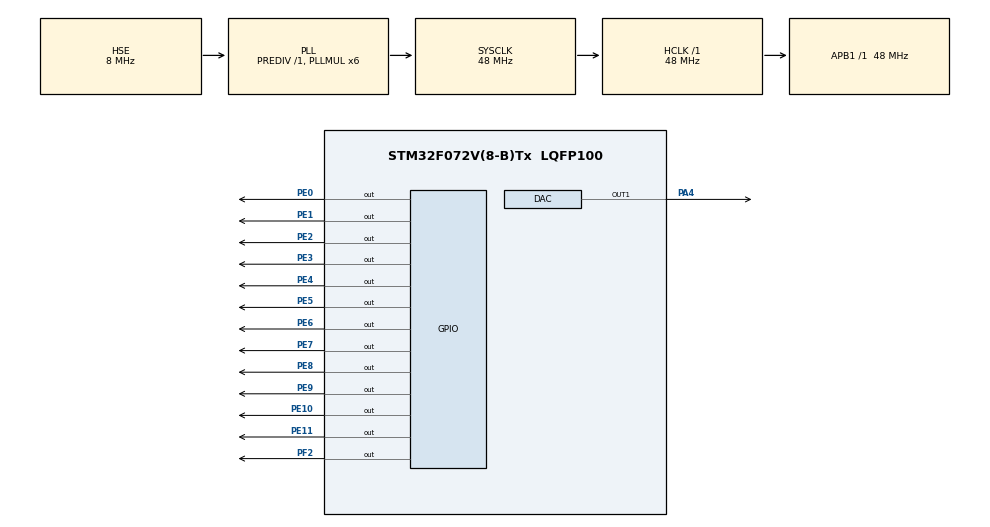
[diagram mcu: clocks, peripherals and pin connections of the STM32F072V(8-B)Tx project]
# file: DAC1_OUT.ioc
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Mcu.Family=STM32F0
Mcu.Name=STM32F072V(8-B)Tx
Mcu.Package=LQFP100
PA4.Signal=COMP_DAC1_group
PE0.Signal=GPIO_Output
PE1.Signal=GPIO_Output
PE10.Signal=GPIO_Output
PE11.Signal=GPIO_Output
PE2.Signal=GPIO_Output
PE3.Signal=GPIO_Output
PE4.Signal=GPIO_Output
PE5.Signal=GPIO_Output
PE6.Signal=GPIO_Output
PE7.Signal=GPIO_Output
PE8.Signal=GPIO_Output
PE9.Signal=GPIO_Output
PF0-OSC_IN.Mode=HSE-External-Oscillator
PF0-OSC_IN.Signal=RCC_OSC_IN
PF1-OSC_OUT.Mode=HSE-External-Oscillator
PF1-OSC_OUT.Signal=RCC_OSC_OUT
PF2.Signal=GPIO_Output
ProjectManager.HeapSize=0x200
ProjectManager.StackSize=0x400
ProjectManager.TargetToolchain=MDK-ARM V5
RCC.AHBFreq_Value=48000000
RCC.APB1Freq_Value=48000000
RCC.APB1TimFreq_Value=48000000
RCC.HCLKFreq_Value=48000000
RCC.HSIState=RCC_HSI_ON
RCC.PLLMUL=RCC_PLL_MUL6
RCC.PLLSourceVirtual=RCC_PLLSOURCE_HSE
RCC.SYSCLKFreq_VALUE=48000000
RCC.SYSCLKSource=RCC_SYSCLKSOURCE_PLLCLK
SH.COMP_DAC1_group.0=DAC_OUT1,DAC_OUT1
board=DAC1_OUT

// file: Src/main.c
/**
  ******************************************************************************
  * File Name          : main.c
  * Description        : Main program body
  ******************************************************************************
  *
  * COPYRIGHT(c) 2018 STMicroelectronics
  *
  * Redistribution and use in source and binary forms, with or without modification,
  * are permitted provided that the following conditions are met:
  *   1. Redistributions of source code must retain the above copyright notice,
  *      this list of conditions and the following disclaimer.
  *   2. Redistributions in binary form must reproduce the above copyright notice,
  *      this list of conditions and the following disclaimer in the documentation
  *      and/or other materials provided with the distribution.
  *   3. Neither the name of STMicroelectronics nor the names of its contributors
  *      may be used to endorse or promote products derived from this software
  *      without specific prior written permission.
  *
  * THIS SOFTWARE IS PROVIDED BY THE COPYRIGHT HOLDERS AND CONTRIBUTORS "AS IS"
  * AND ANY EXPRESS OR IMPLIED WARRANTIES, INCLUDING, BUT NOT LIMITED TO, THE
  * IMPLIED WARRANTIES OF MERCHANTABILITY AND FITNESS FOR A PARTICULAR PURPOSE ARE
  * DISCLAIMED. IN NO EVENT SHALL THE COPYRIGHT HOLDER OR CONTRIBUTORS BE LIABLE
  * FOR ANY DIRECT, INDIRECT, INCIDENTAL, SPECIAL, EXEMPLARY, OR CONSEQUENTIAL
  * DAMAGES (INCLUDING, BUT NOT LIMITED TO, PROCUREMENT OF SUBSTITUTE GOODS OR
  * SERVICES; LOSS OF USE, DATA, OR PROFITS; OR BUSINESS INTERRUPTION) HOWEVER
  * CAUSED AND ON ANY THEORY OF LIABILITY, WHETHER IN CONTRACT, STRICT LIABILITY,
  * OR TORT (INCLUDING NEGLIGENCE OR OTHERWISE) ARISING IN ANY WAY OUT OF THE USE
  * OF THIS SOFTWARE, EVEN IF ADVISED OF THE POSSIBILITY OF SUCH DAMAGE.
  *
  ******************************************************************************
  */
#include "stm32f0xx_hal.h"

DAC_HandleTypeDef hdac;

/* USER CODE BEGIN PV */
/* Private variables ---------------------------------------------------------*/
HAL_StatusTypeDef status;  /* 定义HAL状态变量status */

/* USER CODE END PV */

void SystemClock_Config(void);
void Error_Handler(void);
static void MX_GPIO_Init(void);
static void MX_DAC_Init(void);

/* USER CODE BEGIN PFP */
/* Private function prototypes -----------------------------------------------*/
void SEG_Display(uint32_t num);    /*  数码管显示函数   */

/* USER CODE END PFP */

/* USER CODE BEGIN 0 */
const uint8_t table0[]= {0x3f,0x06,0x5b,0x4f,0x66,0x6d,0x7d,0x07,0x7f,0x6f};  /* 共阴（无点）*/
const uint8_t table1[]= {0xbf,0x86,0xdb,0xcf,0xe6,0xed,0xfd,0x87,0xff,0xef};  /* 共阴（有点）*/

uint16_t temp1,temp2;  //定义循环累加变量用于D/A转换

/* USER CODE END 0 */

int main(void)
{

  /* MCU Configuration----------------------------------------------------------*/

  /* Reset of all peripherals, Initializes the Flash interface and the Systick. */
  HAL_Init();

  /* Configure the system clock */
  SystemClock_Config();

  /* Initialize all configured peripherals */
  MX_GPIO_Init();
  MX_DAC_Init();

  /* USER CODE BEGIN 2 */

	/* 给变量temp1、temp2赋初值 */
	temp1=4096;
	temp2=4096;

	/* 使能DAC通道1 */
	status = HAL_DAC_Start(&hdac,DAC_CHANNEL_1);

  /* USER CODE END 2 */

  /* Infinite loop */
  /* USER CODE BEGIN WHILE */
  while (1)
  {
		temp1++;
		if(temp1<4096)
		{
		  temp2++;
		}
		if(temp1>=4096)
		{
			temp2--;
		}
		if(temp2==0)
		{
			temp1=0;
		}
		/* 将变量temp2的值作为D/A转换值、DAC通道1、12位精度右对齐 */
		status = HAL_DAC_SetValue ( &hdac,DAC_CHANNEL_1,DAC_ALIGN_12B_R,temp2);
 		/* 数码管显示正在转换的数据 */
		SEG_Display(temp2);

  /* USER CODE END WHILE */

  }

}

/** System Clock Configuration
*/
void SystemClock_Config(void)
{

  RCC_OscInitTypeDef RCC_OscInitStruct;
  RCC_ClkInitTypeDef RCC_ClkInitStruct;

  RCC_OscInitStruct.OscillatorType = RCC_OSCILLATORTYPE_HSE;
  RCC_OscInitStruct.HSEState = RCC_HSE_ON;
  RCC_OscInitStruct.PLL.PLLState = RCC_PLL_ON;
  RCC_OscInitStruct.PLL.PLLSource = RCC_PLLSOURCE_HSE;
  RCC_OscInitStruct.PLL.PLLMUL = RCC_PLL_MUL6;
  RCC_OscInitStruct.PLL.PREDIV = RCC_PREDIV_DIV1;
  if (HAL_RCC_OscConfig(&RCC_OscInitStruct) != HAL_OK)
  {
    Error_Handler();
  }

  RCC_ClkInitStruct.ClockType = RCC_CLOCKTYPE_HCLK|RCC_CLOCKTYPE_SYSCLK
                              |RCC_CLOCKTYPE_PCLK1;
  RCC_ClkInitStruct.SYSCLKSource = RCC_SYSCLKSOURCE_PLLCLK;
  RCC_ClkInitStruct.AHBCLKDivider = RCC_SYSCLK_DIV1;
  RCC_ClkInitStruct.APB1CLKDivider = RCC_HCLK_DIV1;
  if (HAL_RCC_ClockConfig(&RCC_ClkInitStruct, FLASH_LATENCY_1) != HAL_OK)
  {
    Error_Handler();
  }

  HAL_SYSTICK_Config(HAL_RCC_GetHCLKFreq()/1000);

  HAL_SYSTICK_CLKSourceConfig(SYSTICK_CLKSOURCE_HCLK);

  /* SysTick_IRQn interrupt configuration */
  HAL_NVIC_SetPriority(SysTick_IRQn, 0, 0);
}

/* DAC init function */
static void MX_DAC_Init(void)
{

  DAC_ChannelConfTypeDef sConfig;

    /**DAC Initialization
    */
  hdac.Instance = DAC;
  if (HAL_DAC_Init(&hdac) != HAL_OK)
  {
    Error_Handler();
  }

    /**DAC channel OUT1 config
    */
  sConfig.DAC_Trigger = DAC_TRIGGER_NONE;
  sConfig.DAC_OutputBuffer = DAC_OUTPUTBUFFER_ENABLE;
  if (HAL_DAC_ConfigChannel(&hdac, &sConfig, DAC_CHANNEL_1) != HAL_OK)
  {
    Error_Handler();
  }

}

/** Configure pins as
        * Analog
        * Input
        * Output
        * EVENT_OUT
        * EXTI
*/
static void MX_GPIO_Init(void)
{

  GPIO_InitTypeDef GPIO_InitStruct;

  /* GPIO Ports Clock Enable */
  __HAL_RCC_GPIOE_CLK_ENABLE();
  __HAL_RCC_GPIOF_CLK_ENABLE();
  __HAL_RCC_GPIOA_CLK_ENABLE();

  /*Configure GPIO pin Output Level */
  HAL_GPIO_WritePin(GPIOE, GPIO_PIN_2|GPIO_PIN_3|GPIO_PIN_4|GPIO_PIN_5
                          |GPIO_PIN_6|GPIO_PIN_7|GPIO_PIN_8|GPIO_PIN_9
                          |GPIO_PIN_10|GPIO_PIN_11|GPIO_PIN_0|GPIO_PIN_1, GPIO_PIN_RESET);

  /*Configure GPIO pin Output Level */
  HAL_GPIO_WritePin(GPIOF, GPIO_PIN_2, GPIO_PIN_RESET);

  /*Configure GPIO pins : PE2 PE3 PE4 PE5
                           PE6 PE7 PE8 PE9
                           PE10 PE11 PE0 PE1 */
  GPIO_InitStruct.Pin = GPIO_PIN_2|GPIO_PIN_3|GPIO_PIN_4|GPIO_PIN_5
                          |GPIO_PIN_6|GPIO_PIN_7|GPIO_PIN_8|GPIO_PIN_9
                          |GPIO_PIN_10|GPIO_PIN_11|GPIO_PIN_0|GPIO_PIN_1;
  GPIO_InitStruct.Mode = GPIO_MODE_OUTPUT_PP;
  GPIO_InitStruct.Pull = GPIO_NOPULL;
  GPIO_InitStruct.Speed = GPIO_SPEED_FREQ_LOW;
  HAL_GPIO_Init(GPIOE, &GPIO_InitStruct);

  /*Configure GPIO pin : PF2 */
  GPIO_InitStruct.Pin = GPIO_PIN_2;
  GPIO_InitStruct.Mode = GPIO_MODE_OUTPUT_PP;
  GPIO_InitStruct.Pull = GPIO_NOPULL;
  GPIO_InitStruct.Speed = GPIO_SPEED_FREQ_LOW;
  HAL_GPIO_Init(GPIOF, &GPIO_InitStruct);

}

/* USER CODE BEGIN 4 */

/*  数码管显示函数  */
void SEG_Display(uint32_t num)
{
	/* 取出四位数显示值 */
  uint8_t GeWei,ShiWei,BaiWei,QianWei;
	GeWei   = (uint8_t)(num%10);
	ShiWei  = (uint8_t)(num%100/10);
	BaiWei  = (uint8_t)(num%1000/100);
	QianWei = (uint8_t)(num/1000);

	/* 使能数码管位驱动  */
	HAL_GPIO_WritePin(GPIOF,GPIO_PIN_2,GPIO_PIN_RESET);

	/* 显示个位 */
	GPIOE->ODR |= (uint16_t)(table0[GeWei]);
	/* 使能个位 */
	HAL_GPIO_WritePin(GPIOE,GPIO_PIN_9|GPIO_PIN_10|GPIO_PIN_11,GPIO_PIN_SET);
	HAL_GPIO_WritePin(GPIOE,GPIO_PIN_8,GPIO_PIN_RESET);
	HAL_Delay(3);
	/* 消隐 */
  GPIOE->ODR &= 0xFF00;
	GPIOE->ODR |= 0x0F00;
	HAL_Delay(1);

	/* 显示十位 */
	GPIOE->ODR |= (uint16_t)(table0[ShiWei]);
	/* 使能十位 */
	HAL_GPIO_WritePin(GPIOE,GPIO_PIN_8|GPIO_PIN_10|GPIO_PIN_11,GPIO_PIN_SET);
	HAL_GPIO_WritePin(GPIOE,GPIO_PIN_9,GPIO_PIN_RESET);
	HAL_Delay(3);
	/* 消隐 */
  GPIOE->ODR &= 0xFF00;
	GPIOE->ODR |= 0x0F00;
	HAL_Delay(1);

	/* 显示百位 */
	GPIOE->ODR |= (uint16_t)(table0[BaiWei]);
	/* 使能百位 */
	HAL_GPIO_WritePin(GPIOE,GPIO_PIN_8|GPIO_PIN_9|GPIO_PIN_11,GPIO_PIN_SET);
	HAL_GPIO_WritePin(GPIOE,GPIO_PIN_10,GPIO_PIN_RESET);
	HAL_Delay(3);
	/* 消隐 */
  GPIOE->ODR &= 0xFF00;
	GPIOE->ODR |= 0x0F00;
	HAL_Delay(1);

	/* 显示千位 */
	GPIOE->ODR |= (uint16_t)(table0[QianWei]);
	/* 使能千位 */
	HAL_GPIO_WritePin(GPIOE,GPIO_PIN_8|GPIO_PIN_9|GPIO_PIN_10,GPIO_PIN_SET);
	HAL_GPIO_WritePin(GPIOE,GPIO_PIN_11,GPIO_PIN_RESET);
	HAL_Delay(3);
	/* 消隐 */
  GPIOE->ODR &= 0xFF00;
	GPIOE->ODR |= 0x0F00;
	HAL_Delay(1);
}

/* USER CODE END 4 */

void Error_Handler(void)
{
  while(1)
  {
  }
}

/************************ (C) COPYRIGHT STMicroelectronics *****END OF FILE****/
